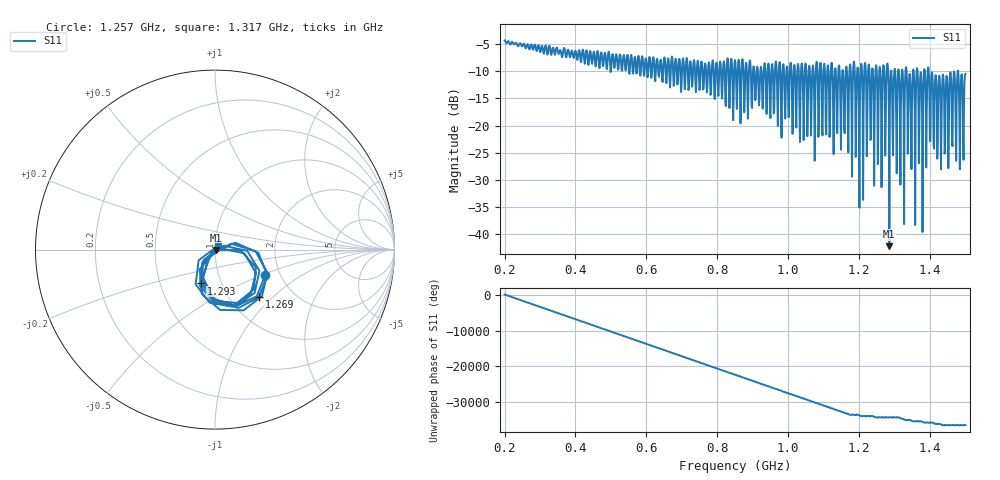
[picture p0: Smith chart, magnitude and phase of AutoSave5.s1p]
!Agilent N9923A: A.05.17
!Date: Sunday, 01 January 2006 12:28:06
!Model: N9923A
!Serial: MY50371189
!CHECKSUM:1102555998
!Correction: S11(ON U)
!S1P File: Measurement: S11:
# Hz S RI R 50
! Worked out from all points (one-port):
!   1001 points, 200 MHz to 1.5 GHz, reference 50 ohm
!   lowest |S11| = -42.3 dB at 1.286 GHz (marker M1), VSWR 1.02, Z = 50.7 - j0.38 ohm
!   |S11| at or under -10 dB: 1.334 GHz to 1.352 GHz (18.38 MHz wide, 1.37 % of centre); 1.396 GHz to 1.479 GHz (82.14 MHz wide, 5.71 % of centre); 1.479 GHz to end of sweep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
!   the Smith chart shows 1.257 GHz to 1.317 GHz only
!   S11 on the Smith chart (normalised r, x): 1.257 GHz: 1.67, -0.52; 1.269 GHz: 1.36, -0.83; 1.293 GHz: 0.80, -0.31; 1.317 GHz: 1.04, +0.05
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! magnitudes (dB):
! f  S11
! 200 MHz  -4.3
! 362.5 MHz  -7.4
! 525 MHz  -6.9
! 687.5 MHz  -12.4
! 850 MHz  -7.9
! 1.012 GHz  -21.5
! 1.17 GHz  -25.0
! 1.175 GHz  -8.7
! 1.191 GHz  -25.8
! 1.206 GHz  -8.6
! 1.222 GHz  -25.7
! 1.257 GHz  -10.1
! 1.269 GHz  -8.9
! 1.286 GHz  -42.3
! 1.291 GHz  -9.8
! 1.293 GHz  -13.8
! 1.312 GHz  -9.6
! 1.317 GHz  -30.9
! 1.322 GHz  -9.7
! 1.337 GHz  -25.2
! 1.353 GHz  -9.6
! 1.369 GHz  -27.0
! 1.374 GHz  -10.2
! 1.389 GHz  -27.8
! 1.426 GHz  -10.8
! 1.464 GHz  -23.8
! 1.49 GHz  -10.5
! 1.5 GHz  -10.5
